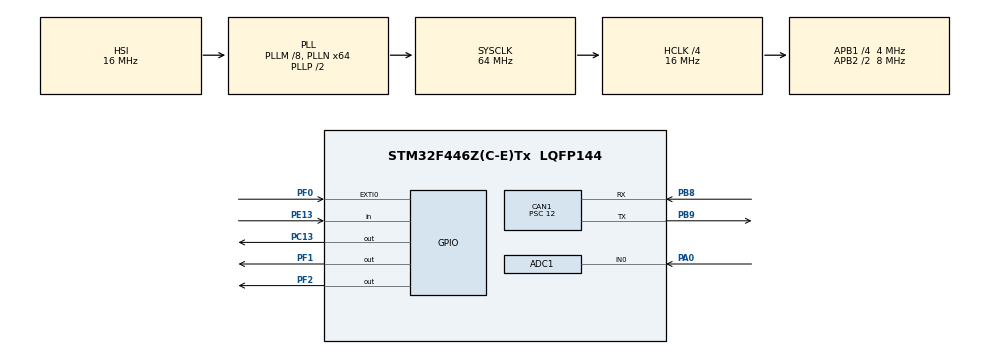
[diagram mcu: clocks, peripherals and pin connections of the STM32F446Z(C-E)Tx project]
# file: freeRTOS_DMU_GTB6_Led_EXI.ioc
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ADC1.Channel-0\#ChannelRegularConversion=ADC_CHANNEL_0
ADC1.NbrOfConversionFlag=1
ADC1.Rank-0\#ChannelRegularConversion=1
ADC1.SamplingTime-0\#ChannelRegularConversion=ADC_SAMPLETIME_3CYCLES
ADC1.master=1
CAN1.BS1=CAN_BS1_11TQ
CAN1.BS2=CAN_BS2_2TQ
CAN1.CalculateBaudRate=23809
CAN1.CalculateTimeBit=42000
CAN1.CalculateTimeQuantum=3000.0
CAN1.Prescaler=12
FREERTOS.Tasks01=myTask01,16,128,StartDefaultTask,Default,NULL,Dynamic,NULL,NULL;myTask02,16,128,StartTask02,Default,NULL,Dynamic,NULL,NULL
FREERTOS.configUSE_NEWLIB_REENTRANT=1
Mcu.Family=STM32F4
Mcu.Name=STM32F446Z(C-E)Tx
Mcu.Package=LQFP144
NVIC.CAN1_RX0_IRQn=true\:5\:0\:false\:false\:true\:true\:true\:true\:true
NVIC.PriorityGroup=NVIC_PRIORITYGROUP_4
PA0-WKUP.Signal=ADCx_IN0
PB8.Mode=CAN_Activate
PB8.Signal=CAN1_RX
PB9.Mode=CAN_Activate
PB9.Signal=CAN1_TX
PC13.Signal=GPIO_Output
PE13.Signal=GPIO_Input
PF0.Signal=GPXTI0
PF1.Signal=GPIO_Output
PF2.Signal=GPIO_Output
PH0-OSC_IN.Mode=HSE-External-Oscillator
PH0-OSC_IN.Signal=RCC_OSC_IN
PH1-OSC_OUT.Mode=HSE-External-Oscillator
PH1-OSC_OUT.Signal=RCC_OSC_OUT
ProjectManager.HeapSize=0x200
ProjectManager.StackSize=0x400
ProjectManager.TargetToolchain=STM32CubeIDE
RCC.AHBCLKDivider=RCC_SYSCLK_DIV4
RCC.AHBFreq_Value=16000000
RCC.APB1CLKDivider=RCC_HCLK_DIV4
RCC.APB1Freq_Value=4000000
RCC.APB1TimFreq_Value=8000000
RCC.APB2CLKDivider=RCC_HCLK_DIV2
RCC.APB2Freq_Value=8000000
RCC.APB2TimFreq_Value=16000000
RCC.CortexFreq_Value=16000000
RCC.HCLKFreq_Value=16000000
RCC.HSE_VALUE=8000000
RCC.PLLM=8
RCC.PLLN=64
RCC.SYSCLKFreq_VALUE=64000000
RCC.SYSCLKSource=RCC_SYSCLKSOURCE_PLLCLK
RCC.USBFreq_Value=64000000
RCC.VCOOutputFreq_Value=128000000
SH.ADCx_IN0.0=ADC1_IN0,IN0
VP_FREERTOS_VS_CMSIS_V2.Mode=CMSIS_V2
board=custom

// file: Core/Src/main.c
/* USER CODE BEGIN Header */
/**
  ******************************************************************************
  * @file           : main.c
  * @brief          : Main program body
  ******************************************************************************
  * @attention
  *
  * Copyright (c) 2024 STMicroelectronics.
  * All rights reserved.
  *
  * This software is licensed under terms that can be found in the LICENSE file
  * in the root directory of this software component.
  * If no LICENSE file comes with this software, it is provided AS-IS.
  *
  ******************************************************************************
  */
/* USER CODE END Header */
#include "main.h"
#include "cmsis_os.h"

ADC_HandleTypeDef hadc1;

CAN_HandleTypeDef hcan1;

/* Definitions for myTask01 */
osThreadId_t myTask01Handle;
const osThreadAttr_t myTask01_attributes = {
  .name = "myTask01",
  .stack_size = 128 * 4,
  .priority = (osPriority_t) osPriorityBelowNormal,
};
/* Definitions for myTask02 */
osThreadId_t myTask02Handle;
const osThreadAttr_t myTask02_attributes = {
  .name = "myTask02",
  .stack_size = 128 * 4,
  .priority = (osPriority_t) osPriorityBelowNormal,
};

void SystemClock_Config(void);
static void MX_GPIO_Init(void);
static void MX_ADC1_Init(void);
static void MX_CAN1_Init(void);
void StartDefaultTask(void *argument);
void StartTask02(void *argument);

/* USER CODE BEGIN 0 */

uint32_t dmu_value;
uint32_t digital_output;
/* USER CODE END 0 */

int main(void)
{

  /* MCU Configuration--------------------------------------------------------*/

  /* Reset of all peripherals, Initializes the Flash interface and the Systick. */
  HAL_Init();

  /* Configure the system clock */
  SystemClock_Config();

  /* USER CODE BEGIN SysInit */
  SystemCoreClockUpdate();
  /* USER CODE END SysInit */

  /* Initialize all configured peripherals */
  MX_GPIO_Init();
  MX_ADC1_Init();
  MX_CAN1_Init();

  /* Init scheduler */
  osKernelInitialize();

  /* Create the thread(s) */
  /* creation of myTask01 */
  myTask01Handle = osThreadNew(StartDefaultTask, NULL, &myTask01_attributes);

  /* creation of myTask02 */
  myTask02Handle = osThreadNew(StartTask02, NULL, &myTask02_attributes);

  /* USER CODE BEGIN RTOS_THREADS */
  /* add threads, ... */
  xTaskCreate(StartDefaultTask," DMU OKUMA ",500, NULL, 3, &myTask01_attributes);
  xTaskCreate(StartTask02," Led yakma ", 500, NULL, 3, &myTask02_attributes);
  /* USER CODE END RTOS_THREADS */

  /* Start scheduler */
  osKernelStart();

  /* We should never get here as control is now taken by the scheduler */

  /* Infinite loop */
  while (1)
  {

  }
}

void SystemClock_Config(void)
{
  RCC_OscInitTypeDef RCC_OscInitStruct = {0};
  RCC_ClkInitTypeDef RCC_ClkInitStruct = {0};

  /** Configure the main internal regulator output voltage
  */
  __HAL_RCC_PWR_CLK_ENABLE();
  __HAL_PWR_VOLTAGESCALING_CONFIG(PWR_REGULATOR_VOLTAGE_SCALE3);

  /** Initializes the RCC Oscillators according to the specified parameters
  * in the RCC_OscInitTypeDef structure.
  */
  RCC_OscInitStruct.OscillatorType = RCC_OSCILLATORTYPE_HSI;
  RCC_OscInitStruct.HSIState = RCC_HSI_ON;
  RCC_OscInitStruct.HSICalibrationValue = RCC_HSICALIBRATION_DEFAULT;
  RCC_OscInitStruct.PLL.PLLState = RCC_PLL_ON;
  RCC_OscInitStruct.PLL.PLLSource = RCC_PLLSOURCE_HSI;
  RCC_OscInitStruct.PLL.PLLM = 8;
  RCC_OscInitStruct.PLL.PLLN = 64;
  RCC_OscInitStruct.PLL.PLLP = RCC_PLLP_DIV2;
  RCC_OscInitStruct.PLL.PLLQ = 2;
  RCC_OscInitStruct.PLL.PLLR = 2;
  if (HAL_RCC_OscConfig(&RCC_OscInitStruct) != HAL_OK)
  {
    Error_Handler();
  }

  /** Initializes the CPU, AHB and APB buses clocks
  */
  RCC_ClkInitStruct.ClockType = RCC_CLOCKTYPE_HCLK|RCC_CLOCKTYPE_SYSCLK
                              |RCC_CLOCKTYPE_PCLK1|RCC_CLOCKTYPE_PCLK2;
  RCC_ClkInitStruct.SYSCLKSource = RCC_SYSCLKSOURCE_PLLCLK;
  RCC_ClkInitStruct.AHBCLKDivider = RCC_SYSCLK_DIV4;
  RCC_ClkInitStruct.APB1CLKDivider = RCC_HCLK_DIV4;
  RCC_ClkInitStruct.APB2CLKDivider = RCC_HCLK_DIV2;

  if (HAL_RCC_ClockConfig(&RCC_ClkInitStruct, FLASH_LATENCY_0) != HAL_OK)
  {
    Error_Handler();
  }
}

static void MX_ADC1_Init(void)
{

  ADC_ChannelConfTypeDef sConfig = {0};

  /** Configure the global features of the ADC (Clock, Resolution, Data Alignment and number of conversion)
  */
  hadc1.Instance = ADC1;
  hadc1.Init.ClockPrescaler = ADC_CLOCK_SYNC_PCLK_DIV2;
  hadc1.Init.Resolution = ADC_RESOLUTION_12B;
  hadc1.Init.ScanConvMode = DISABLE;
  hadc1.Init.ContinuousConvMode = DISABLE;
  hadc1.Init.DiscontinuousConvMode = DISABLE;
  hadc1.Init.ExternalTrigConvEdge = ADC_EXTERNALTRIGCONVEDGE_NONE;
  hadc1.Init.ExternalTrigConv = ADC_SOFTWARE_START;
  hadc1.Init.DataAlign = ADC_DATAALIGN_RIGHT;
  hadc1.Init.NbrOfConversion = 1;
  hadc1.Init.DMAContinuousRequests = DISABLE;
  hadc1.Init.EOCSelection = ADC_EOC_SINGLE_CONV;
  if (HAL_ADC_Init(&hadc1) != HAL_OK)
  {
    Error_Handler();
  }

  /** Configure for the selected ADC regular channel its corresponding rank in the sequencer and its sample time.
  */
  sConfig.Channel = ADC_CHANNEL_0;
  sConfig.Rank = 1;
  sConfig.SamplingTime = ADC_SAMPLETIME_3CYCLES;
  if (HAL_ADC_ConfigChannel(&hadc1, &sConfig) != HAL_OK)
  {
    Error_Handler();
  }

}

static void MX_CAN1_Init(void)
{

  hcan1.Instance = CAN1;
  hcan1.Init.Prescaler = 12;
  hcan1.Init.Mode = CAN_MODE_NORMAL;
  hcan1.Init.SyncJumpWidth = CAN_SJW_1TQ;
  hcan1.Init.TimeSeg1 = CAN_BS1_11TQ;
  hcan1.Init.TimeSeg2 = CAN_BS2_2TQ;
  hcan1.Init.TimeTriggeredMode = DISABLE;
  hcan1.Init.AutoBusOff = DISABLE;
  hcan1.Init.AutoWakeUp = DISABLE;
  hcan1.Init.AutoRetransmission = DISABLE;
  hcan1.Init.ReceiveFifoLocked = DISABLE;
  hcan1.Init.TransmitFifoPriority = DISABLE;
  if (HAL_CAN_Init(&hcan1) != HAL_OK)
  {
    Error_Handler();
  }

}

static void MX_GPIO_Init(void)
{
  GPIO_InitTypeDef GPIO_InitStruct = {0};

  /* GPIO Ports Clock Enable */
  __HAL_RCC_GPIOC_CLK_ENABLE();
  __HAL_RCC_GPIOF_CLK_ENABLE();
  __HAL_RCC_GPIOH_CLK_ENABLE();
  __HAL_RCC_GPIOA_CLK_ENABLE();
  __HAL_RCC_GPIOE_CLK_ENABLE();
  __HAL_RCC_GPIOB_CLK_ENABLE();

  /*Configure GPIO pin Output Level */
  HAL_GPIO_WritePin(GPIOC, GPIO_PIN_13, GPIO_PIN_RESET);

  /*Configure GPIO pin Output Level */
  HAL_GPIO_WritePin(GPIOF, GPIO_PIN_1|GPIO_PIN_2, GPIO_PIN_RESET);

  /*Configure GPIO pin : PC13 */
  GPIO_InitStruct.Pin = GPIO_PIN_13;
  GPIO_InitStruct.Mode = GPIO_MODE_OUTPUT_PP;
  GPIO_InitStruct.Pull = GPIO_NOPULL;
  GPIO_InitStruct.Speed = GPIO_SPEED_FREQ_LOW;
  HAL_GPIO_Init(GPIOC, &GPIO_InitStruct);

  /*Configure GPIO pin : PF0 */
  GPIO_InitStruct.Pin = GPIO_PIN_0;
  GPIO_InitStruct.Mode = GPIO_MODE_IT_RISING;
  GPIO_InitStruct.Pull = GPIO_NOPULL;
  HAL_GPIO_Init(GPIOF, &GPIO_InitStruct);

  /*Configure GPIO pins : PF1 PF2 */
  GPIO_InitStruct.Pin = GPIO_PIN_1|GPIO_PIN_2;
  GPIO_InitStruct.Mode = GPIO_MODE_OUTPUT_PP;
  GPIO_InitStruct.Pull = GPIO_NOPULL;
  GPIO_InitStruct.Speed = GPIO_SPEED_FREQ_LOW;
  HAL_GPIO_Init(GPIOF, &GPIO_InitStruct);

  /*Configure GPIO pin : PE13 */
  GPIO_InitStruct.Pin = GPIO_PIN_13;
  GPIO_InitStruct.Mode = GPIO_MODE_INPUT;
  GPIO_InitStruct.Pull = GPIO_NOPULL;
  HAL_GPIO_Init(GPIOE, &GPIO_InitStruct);

}

void StartDefaultTask(void *argument)
{
  /* USER CODE BEGIN 5 */
  /* Infinite loop */
  for(;;)
  {
	  digital_output = HAL_GPIO_ReadPin(GPIOE, GPIO_PIN_13);
	  HAL_ADC_Start(&hadc1);
	  if(digital_output == 0)
	  {
		  if (HAL_ADC_PollForConversion(&hadc1, 1000) == HAL_OK)
		  {
			  dmu_value = HAL_ADC_GetValue(&hadc1);

		  }
	  };

    osDelay(1);
  }
  /* USER CODE END 5 */
}

void StartTask02(void *argument)
{
  /* USER CODE BEGIN StartTask02 */
	uint32_t pulNotificationValue = 0 ;
  /* Infinite loop */
  for(;;)
  {

	  if(dmu_value <45 & digital_output == 1)
	  {
		  HAL_GPIO_WritePin(GPIOF, GPIO_PIN_0|GPIO_PIN_1|GPIO_PIN_2, GPIO_PIN_SET);
		  HAL_GPIO_WritePin(GPIOC, GPIO_PIN_13, GPIO_PIN_SET);
		  vTaskDelay(100);
		  HAL_GPIO_WritePin(GPIOF, GPIO_PIN_0|GPIO_PIN_1|GPIO_PIN_2, GPIO_PIN_RESET);
		  HAL_GPIO_WritePin(GPIOC, GPIO_PIN_13, GPIO_PIN_RESET);
		  vTaskDelay(100);
	  }
	  else if (dmu_value >= 45 & dmu_value <200 ) // 250 ms bir yanıp sönecek
	  {
		  HAL_GPIO_WritePin(GPIOF, GPIO_PIN_0|GPIO_PIN_1|GPIO_PIN_2, GPIO_PIN_SET);
		  vTaskDelay(250);
		  HAL_GPIO_WritePin(GPIOF, GPIO_PIN_0|GPIO_PIN_1|GPIO_PIN_2, GPIO_PIN_RESET);
		  vTaskDelay(250);

	  }
	  else if (dmu_value >= 200 & dmu_value < 500 ) // 500 ms bir yanıp sönecek
	  {
		  HAL_GPIO_WritePin(GPIOF, GPIO_PIN_0|GPIO_PIN_1|GPIO_PIN_2, GPIO_PIN_SET);
		  vTaskDelay(500);
		  HAL_GPIO_WritePin(GPIOF, GPIO_PIN_0|GPIO_PIN_1|GPIO_PIN_2, GPIO_PIN_RESET);
		  vTaskDelay(500);

	  }
	  else if (dmu_value >= 500 & dmu_value < 1000 ) // 750 ms bir yanıp sönecek
	  {
		  HAL_GPIO_WritePin(GPIOF, GPIO_PIN_0|GPIO_PIN_1|GPIO_PIN_2, GPIO_PIN_SET);
          vTaskDelay(750);
		  HAL_GPIO_WritePin(GPIOF, GPIO_PIN_0|GPIO_PIN_1|GPIO_PIN_2, GPIO_PIN_RESET);
          vTaskDelay(750);

	  }
	  else if (dmu_value >= 1000 & dmu_value < 2000 ) // 1000 ms bir yanıp sönecek
	  {
		  HAL_GPIO_WritePin(GPIOF, GPIO_PIN_0|GPIO_PIN_1|GPIO_PIN_2, GPIO_PIN_SET);
		  vTaskDelay(1000);
		  HAL_GPIO_WritePin(GPIOF, GPIO_PIN_0|GPIO_PIN_1|GPIO_PIN_2, GPIO_PIN_RESET);
		  vTaskDelay(1000);
	  }
	  else if (dmu_value >= 2000 & dmu_value < 3100 ) // 1250 ms bir yanıp sönecek
		  {
			  HAL_GPIO_WritePin(GPIOF, GPIO_PIN_0|GPIO_PIN_1|GPIO_PIN_2, GPIO_PIN_SET);
			  vTaskDelay(1250);
			  HAL_GPIO_WritePin(GPIOF, GPIO_PIN_0|GPIO_PIN_1|GPIO_PIN_2, GPIO_PIN_RESET);
			  vTaskDelay(1250);
		  }
	  else
	  {
		  HAL_GPIO_WritePin(GPIOF, GPIO_PIN_0|GPIO_PIN_1|GPIO_PIN_2, GPIO_PIN_RESET);
	  }
    osDelay(1);
  }
  /* USER CODE END StartTask02 */
}

void Error_Handler(void)
{
  __disable_irq();
  while (1)
  {
  }
}
